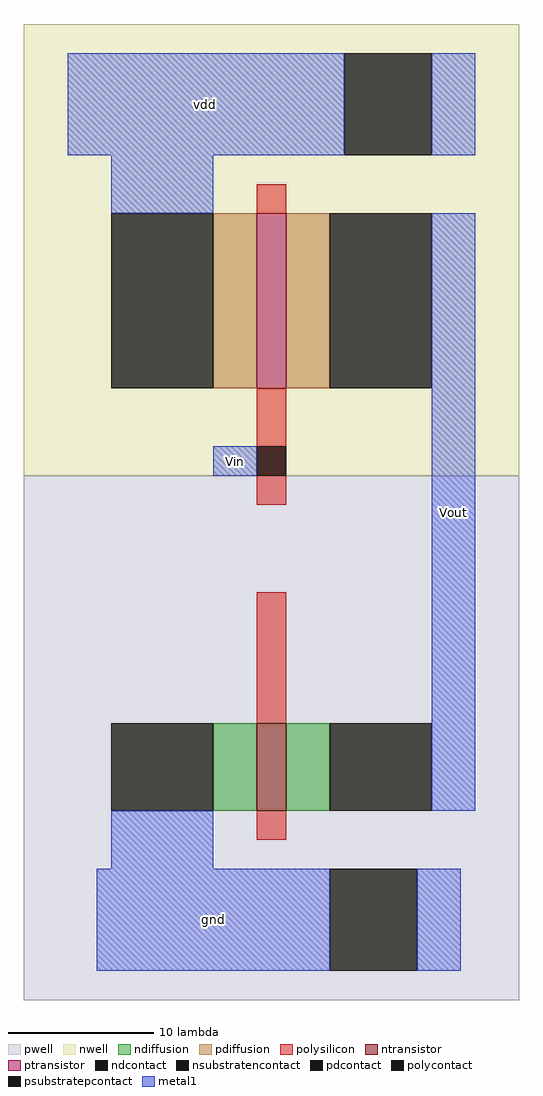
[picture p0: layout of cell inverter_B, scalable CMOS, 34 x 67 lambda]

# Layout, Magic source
magic
tech scmos
<< pwell >>
rect -18 -33 16 3
<< nwell >>
rect -18 3 16 34
<< polysilicon >>
rect -2 21 0 23
rect -2 1 0 9
rect -2 -14 0 -5
rect -2 -22 0 -20
<< ndiffusion >>
rect -5 -20 -2 -14
rect 0 -20 3 -14
<< pdiffusion >>
rect -5 9 -2 21
rect 0 9 3 21
<< metal1 >>
rect -15 25 4 32
rect 10 25 13 32
rect -12 21 -5 25
rect -5 3 -2 5
rect 10 -20 13 21
rect -12 -24 -5 -20
rect -13 -31 3 -24
rect 9 -31 12 -24
<< ntransistor >>
rect -2 -20 0 -14
<< ptransistor >>
rect -2 9 0 21
<< polycontact >>
rect -2 3 0 5
<< ndcontact >>
rect -12 -20 -5 -14
rect 3 -20 10 -14
<< pdcontact >>
rect -12 9 -5 21
rect 3 9 10 21
<< psubstratepcontact >>
rect 3 -31 9 -24
<< nsubstratencontact >>
rect 4 25 10 32
<< labels >>
rlabel metal1 -15 25 4 32 0 vdd
port 1 nsew
rlabel metal1 -13 -31 3 -24 0 gnd
port 2 nsew
rlabel metal1 -5 3 -2 5 0 Vin
port 1 nsew signal input
rlabel metal1 10 -20 13 21 0 Vout
port 2 nsew signal output
<< end >>
